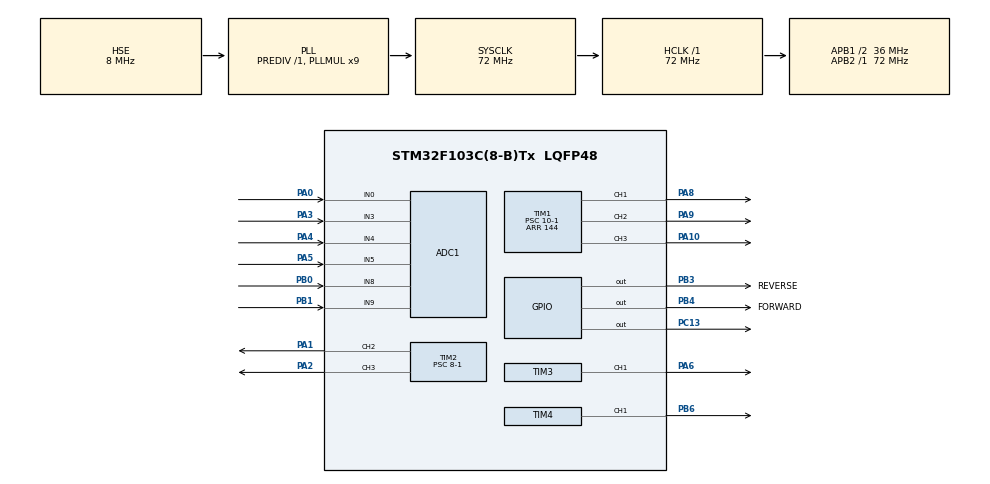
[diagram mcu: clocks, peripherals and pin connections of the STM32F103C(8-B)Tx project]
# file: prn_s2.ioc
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ADC1.Channel-10\#ChannelRegularConversion=ADC_CHANNEL_8
ADC1.Channel-11\#ChannelRegularConversion=ADC_CHANNEL_9
ADC1.Channel-6\#ChannelRegularConversion=ADC_CHANNEL_0
ADC1.Channel-7\#ChannelRegularConversion=ADC_CHANNEL_3
ADC1.Channel-8\#ChannelRegularConversion=ADC_CHANNEL_4
ADC1.Channel-9\#ChannelRegularConversion=ADC_CHANNEL_5
ADC1.NbrOfConversion=6
ADC1.NbrOfConversionFlag=1
ADC1.Rank-10\#ChannelRegularConversion=5
ADC1.Rank-11\#ChannelRegularConversion=6
ADC1.Rank-6\#ChannelRegularConversion=1
ADC1.Rank-7\#ChannelRegularConversion=2
ADC1.Rank-8\#ChannelRegularConversion=3
ADC1.Rank-9\#ChannelRegularConversion=4
ADC1.SamplingTime-10\#ChannelRegularConversion=ADC_SAMPLETIME_239CYCLES_5
ADC1.SamplingTime-11\#ChannelRegularConversion=ADC_SAMPLETIME_239CYCLES_5
ADC1.SamplingTime-6\#ChannelRegularConversion=ADC_SAMPLETIME_239CYCLES_5
ADC1.SamplingTime-7\#ChannelRegularConversion=ADC_SAMPLETIME_239CYCLES_5
ADC1.SamplingTime-8\#ChannelRegularConversion=ADC_SAMPLETIME_239CYCLES_5
ADC1.SamplingTime-9\#ChannelRegularConversion=ADC_SAMPLETIME_239CYCLES_5
ADC1.master=1
Dma.ADC1.0.Direction=DMA_PERIPH_TO_MEMORY
Dma.ADC1.0.Instance=DMA1_Channel1
Dma.ADC1.0.MemDataAlignment=DMA_MDATAALIGN_WORD
Dma.ADC1.0.MemInc=DMA_MINC_ENABLE
Dma.ADC1.0.Mode=DMA_CIRCULAR
Dma.ADC1.0.PeriphDataAlignment=DMA_PDATAALIGN_WORD
Dma.ADC1.0.PeriphInc=DMA_PINC_DISABLE
Dma.ADC1.0.Priority=DMA_PRIORITY_LOW
Dma.Request0=ADC1
Mcu.Family=STM32F1
Mcu.Name=STM32F103C(8-B)Tx
Mcu.Package=LQFP48
NVIC.DMA1_Channel1_IRQn=true\:0\:0\:false\:false\:true\:false\:true
NVIC.PriorityGroup=NVIC_PRIORITYGROUP_4
NVIC.TIM2_IRQn=true\:0\:0\:false\:false\:true\:true\:true
PA0-WKUP.Signal=ADCx_IN0
PA1.Signal=S_TIM2_CH2
PA10.Signal=S_TIM1_CH3
PA13.Mode=Serial_Wire
PA13.Signal=SYS_JTMS-SWDIO
PA14.Mode=Serial_Wire
PA14.Signal=SYS_JTCK-SWCLK
PA2.Signal=S_TIM2_CH3
PA3.Signal=ADCx_IN3
PA4.Signal=ADCx_IN4
PA5.Signal=ADCx_IN5
PA6.Signal=S_TIM3_CH1
PA8.Signal=S_TIM1_CH1
PA9.Signal=S_TIM1_CH2
PB0.Signal=ADCx_IN8
PB1.Signal=ADCx_IN9
PB3.GPIO_Label=REVERSE
PB3.GPIO_PuPd=GPIO_PULLDOWN
PB3.PinState=GPIO_PIN_RESET
PB3.Signal=GPIO_Output
PB4.GPIO_Label=FORWARD
PB4.GPIO_PuPd=GPIO_PULLDOWN
PB4.Signal=GPIO_Output
PB6.Signal=S_TIM4_CH1
PC13-TAMPER-RTC.Signal=GPIO_Output
PD0-OSC_IN.Mode=HSE-External-Oscillator
PD0-OSC_IN.Signal=RCC_OSC_IN
PD1-OSC_OUT.Mode=HSE-External-Oscillator
PD1-OSC_OUT.Signal=RCC_OSC_OUT
ProjectManager.HeapSize=0x200
ProjectManager.StackSize=0x400
ProjectManager.TargetToolchain=STM32CubeIDE
RCC.ADCPresc=RCC_ADCPCLK2_DIV6
RCC.AHBFreq_Value=72000000
RCC.APB1CLKDivider=RCC_HCLK_DIV2
RCC.APB1Freq_Value=36000000
RCC.APB1TimFreq_Value=72000000
RCC.APB2Freq_Value=72000000
RCC.APB2TimFreq_Value=72000000
RCC.HCLKFreq_Value=72000000
RCC.PLLMUL=RCC_PLL_MUL9
RCC.PLLSourceVirtual=RCC_PLLSOURCE_HSE
RCC.SYSCLKFreq_VALUE=72000000
RCC.SYSCLKSource=RCC_SYSCLKSOURCE_PLLCLK
RCC.USBFreq_Value=72000000
SH.ADCx_IN0.0=ADC1_IN0,IN0
SH.ADCx_IN3.0=ADC1_IN3,IN3
SH.ADCx_IN4.0=ADC1_IN4,IN4
SH.ADCx_IN5.0=ADC1_IN5,IN5
SH.ADCx_IN8.0=ADC1_IN8,IN8
SH.ADCx_IN9.0=ADC1_IN9,IN9
SH.S_TIM1_CH1.0=TIM1_CH1,PWM Generation1 CH1
SH.S_TIM1_CH2.0=TIM1_CH2,PWM Generation2 CH2
SH.S_TIM1_CH3.0=TIM1_CH3,PWM Generation3 CH3
SH.S_TIM2_CH2.0=TIM2_CH2,PWM Generation2 CH2
SH.S_TIM2_CH3.0=TIM2_CH3,PWM Generation3 CH3
SH.S_TIM3_CH1.0=TIM3_CH1,PWM Generation1 CH1
SH.S_TIM4_CH1.0=TIM4_CH1,PWM Generation1 CH1
TIM1.Channel-PWM\ Generation1\ CH1=TIM_CHANNEL_1
TIM1.Channel-PWM\ Generation2\ CH2=TIM_CHANNEL_2
TIM1.Channel-PWM\ Generation3\ CH3=TIM_CHANNEL_3
TIM1.OCPolarity_1=TIM_OCPOLARITY_LOW
TIM1.OCPolarity_2=TIM_OCPOLARITY_LOW
TIM1.Period=144
TIM1.Prescaler=10-1
TIM2.AutoReloadPreload=TIM_AUTORELOAD_PRELOAD_DISABLE
TIM2.Channel-PWM\ Generation2\ CH2=TIM_CHANNEL_2
TIM2.Channel-PWM\ Generation3\ CH3=TIM_CHANNEL_3
TIM2.OCPolarity_2=TIM_OCPOLARITY_LOW
TIM2.OCPolarity_3=TIM_OCPOLARITY_LOW
TIM2.Period=600
TIM2.Prescaler=8-1
TIM3.Channel-PWM\ Generation1\ CH1=TIM_CHANNEL_1
TIM3.OCPolarity_1=TIM_OCPOLARITY_LOW
TIM3.Period=288
TIM3.Prescaler=10-1
TIM4.Channel-PWM\ Generation1\ CH1=TIM_CHANNEL_1
TIM4.OCPolarity_1=TIM_OCPOLARITY_LOW
TIM4.Period=2000
TIM4.Prescaler=72-1
VP_TIM1_VS_ClockSourceINT.Mode=Internal
VP_TIM2_VS_ClockSourceINT.Mode=Internal
VP_TIM3_VS_ClockSourceINT.Mode=Internal
VP_TIM4_VS_ClockSourceINT.Mode=Internal
board=custom

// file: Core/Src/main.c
/* USER CODE BEGIN Header */
/**
  ******************************************************************************
  * @file           : main.c
  * @brief          : Main program body
  ******************************************************************************
  * @attention
  *
  * Copyright (c) 2021 STMicroelectronics.
  * All rights reserved.
  *
  * This software is licensed under terms that can be found in the LICENSE file
  * in the root directory of this software component.
  * If no LICENSE file comes with this software, it is provided AS-IS.
  *
  ******************************************************************************
  */
/* USER CODE END Header */
#include "main.h"

/* USER CODE BEGIN Includes */

#include "math.h"

// if math.h didn't works, use the define below
//#define M_PI 3.14159265358979323846264338328

#define F_CPU 72000000		// 72MHz
#define AC_FREQ 50          // 50Hz ac outlet
#define period 600			// Timer 2 period
#define presc 8				// Timer 2 prescale

const int sinDivision = F_CPU/presc/AC_FREQ/period;

uint32_t lookUp[151];
float temp;

// Mode
// Mode 0 for charging
// Mode 1 for inverter
int inverterMode = 0;

// Isolated Buck Converter Properties
int maxIsolatedBuckValue = 144;
int nowIsolatedBuckValue = 0;

// Boost Converter Properties
int maxBoostValue = 288;
int nowBoostValue = 0;

// Input Voltage Properties
int maxInputGateValue = 2000;
int nowInputGateValue = 0;

// Switching Transformer (50KHz)
int maxTrafoSwitchingValue = 144;
int nowTrafoSwitchingValue = 0;

// Analog Reading
uint32_t adcReading[6];

int adcValue0 = 0;
int adcValue1 = 0;
int adcValue2 = 0;
int adcValue3 = 0;
int adcValue4 = 0;
int adcValue5 = 0;

// Voltage Reading
float batteryVoltage;
float inputVoltage;
float ctVoltage;

// Current Reading
float acOutputCurrent;

// Temperature Reading
float temperature1;
float temperature2;

int ledCounter = 0;
/* USER CODE END Includes */

ADC_HandleTypeDef hadc1;
DMA_HandleTypeDef hdma_adc1;

TIM_HandleTypeDef htim1;
TIM_HandleTypeDef htim2;
TIM_HandleTypeDef htim3;
TIM_HandleTypeDef htim4;

void SystemClock_Config(void);
static void MX_GPIO_Init(void);
static void MX_TIM2_Init(void);
static void MX_TIM3_Init(void);
static void MX_DMA_Init(void);
static void MX_ADC1_Init(void);
static void MX_TIM4_Init(void);
static void MX_TIM1_Init(void);

int main(void)
{

  /* MCU Configuration--------------------------------------------------------*/

  /* Reset of all peripherals, Initializes the Flash interface and the Systick. */
  HAL_Init();

  /* Configure the system clock */
  SystemClock_Config();

  /* Initialize all configured peripherals */
  MX_GPIO_Init();
  MX_TIM2_Init();
  MX_TIM3_Init();
  MX_DMA_Init();
  MX_ADC1_Init();
  MX_TIM4_Init();
  MX_TIM1_Init();
  /* USER CODE BEGIN 2 */

  // Create SPWM Array (DO NOT CHANGE)

  for (int i=0; i<(sinDivision/2); i++)
  {
	  temp = sin((i+0.5) * 2 * M_PI / sinDivision) * period;
	  lookUp[i] = (int)(temp+0.5);
  }

  htim2.Instance->CCR2 = 0;
  htim2.Instance->CCR3 = 0;
  HAL_TIM_Base_Start_IT(&htim2);
  HAL_TIM_PWM_Start(&htim2,TIM_CHANNEL_2);
  HAL_TIM_PWM_Start(&htim2,TIM_CHANNEL_3);

  HAL_TIM_PWM_Start(&htim1, TIM_CHANNEL_1);
  HAL_TIM_PWM_Start(&htim1, TIM_CHANNEL_2);
  HAL_TIM_PWM_Start(&htim1, TIM_CHANNEL_3);

  HAL_TIM_PWM_Start(&htim3, TIM_CHANNEL_1);

  HAL_TIM_PWM_Start(&htim4, TIM_CHANNEL_1);

  // Set all PWM to Zero
  TIM1->CCR1 = nowTrafoSwitchingValue;
  TIM1->CCR2 = nowIsolatedBuckValue;
  TIM1->CCR3 = maxTrafoSwitchingValue;

  TIM3->CCR1 = nowBoostValue;

  TIM4->CCR1 = nowInputGateValue;

  /* USER CODE END 2 */

  /* Infinite loop */
  /* USER CODE BEGIN WHILE */
  while (1)
  {
	  // increase led counter
	  ledCounter += 1;

	  // Read Sensor
	  HAL_ADC_Start_DMA(&hadc1, adcReading, 6);

	  adcValue0 = adcReading[0];
	  adcValue1 = adcReading[1];
	  adcValue2 = adcReading[2];
	  adcValue3 = adcReading[3];
	  adcValue4 = adcReading[4];
	  adcValue5 = adcReading[5];

	  batteryVoltage = ((adcValue0 / 4096.0) * 3.3) * 21 ;
	  inputVoltage = ((adcValue1 / 4096.0) * 3.3) * 21 ;
	  ctVoltage = ((adcValue3 / 4096.0) * 3.3) * 21 ;

	  temperature1 = ((adcValue4 / 4096) * 3.3) * 100;
	  temperature2 = ((adcValue5 / 4096) * 3.3) * 100;

	  /*
	  // Take Action based on Battery Voltage
	  // inverter mode when voltage > 50V
	  if (batteryVoltage > 50)
	  {
		  inverterMode = 1;
	  }

	  // charging mode when voltage < 39V
	  if (batteryVoltage < 39)
	  {
		  inverterMode = 0;
	  }
	  */

	  // Decide Mode to be used
	  inverterMode = 1;

	  // If Charging Mode is used
	  if (inverterMode == 0)
	  {
		  // Turn off inverter mode mosfet
		  HAL_GPIO_WritePin(GPIOB, FORWARD_Pin, GPIO_PIN_RESET);

		  // Stop Input Voltage
		  nowInputGateValue = 0;
		  TIM4->CCR1 = nowInputGateValue;

		  // Stop isolated buck converter
		  nowIsolatedBuckValue = 0;
		  TIM1->CCR2 = nowIsolatedBuckValue;

		  // Run Boost Converter
		  nowBoostValue = maxBoostValue * 30.0 / 100.0;
		  TIM3->CCR1 = nowBoostValue;

		  // Activate charging mode mosfet
		  // if ctVoltage become zero
		  // to prevent short circuit
		  if (ctVoltage == 0)
		  {
			  HAL_GPIO_WritePin(GPIOB, REVERSE_Pin, GPIO_PIN_SET);
			  HAL_Delay(1);
		  }

		  if (ledCounter >= 5000)
		  {
			  HAL_GPIO_TogglePin(GPIOC, GPIO_PIN_13);
			  ledCounter = 0;
		  }
	  }

	  // If Inverter Mode is used
	  if (inverterMode == 1)
	  {
		  // Turn off charging mode mosfet
		  HAL_GPIO_WritePin(GPIOB, REVERSE_Pin, GPIO_PIN_RESET);

		  // Stop Boost Converter
		  nowBoostValue = 0;
		  TIM3->CCR1 = nowBoostValue;

		  // Run Isolated Buck Converter at 50% duty cycle
		  nowIsolatedBuckValue = maxIsolatedBuckValue / 2;
		  TIM1->CCR2 = nowIsolatedBuckValue;

		  // Run Switching for Trafo at 50% duty cycle
		  nowTrafoSwitchingValue = maxTrafoSwitchingValue / 2;
		  TIM1->CCR1 = nowTrafoSwitchingValue;
		  TIM1->CCR3 = nowTrafoSwitchingValue;

		  // Activate Forward Mosfet
		  HAL_GPIO_WritePin(GPIOB, FORWARD_Pin, GPIO_PIN_SET);
		  //HAL_GPIO_WritePin(GPIOB, FORWARD_Pin, GPIO_PIN_RESET);

		  // Conditioning input voltage
		  // set to x Volt
		  if(batteryVoltage < 10)
		  {
			  nowInputGateValue = nowInputGateValue+1;
		  }
		  if(batteryVoltage > 10)
		  {
			  nowInputGateValue = nowInputGateValue-1;
		  }
		  if(batteryVoltage == 10)
		  {
			  nowInputGateValue = nowInputGateValue;
		  }
		  //TIM4->CCR1 = nowInputGateValue;
		  TIM4->CCR1 = maxInputGateValue/2;

		  if (ledCounter >= 20000)
		  {
			  HAL_GPIO_TogglePin(GPIOC, GPIO_PIN_13);
			  ledCounter = 0;
		  }
	  }
    /* USER CODE END WHILE */

  }
}

void SystemClock_Config(void)
{
  RCC_OscInitTypeDef RCC_OscInitStruct = {0};
  RCC_ClkInitTypeDef RCC_ClkInitStruct = {0};
  RCC_PeriphCLKInitTypeDef PeriphClkInit = {0};

  /** Initializes the RCC Oscillators according to the specified parameters
  * in the RCC_OscInitTypeDef structure.
  */
  RCC_OscInitStruct.OscillatorType = RCC_OSCILLATORTYPE_HSE;
  RCC_OscInitStruct.HSEState = RCC_HSE_ON;
  RCC_OscInitStruct.HSEPredivValue = RCC_HSE_PREDIV_DIV1;
  RCC_OscInitStruct.HSIState = RCC_HSI_ON;
  RCC_OscInitStruct.PLL.PLLState = RCC_PLL_ON;
  RCC_OscInitStruct.PLL.PLLSource = RCC_PLLSOURCE_HSE;
  RCC_OscInitStruct.PLL.PLLMUL = RCC_PLL_MUL9;
  if (HAL_RCC_OscConfig(&RCC_OscInitStruct) != HAL_OK)
  {
    Error_Handler();
  }
  /** Initializes the CPU, AHB and APB buses clocks
  */
  RCC_ClkInitStruct.ClockType = RCC_CLOCKTYPE_HCLK|RCC_CLOCKTYPE_SYSCLK
                              |RCC_CLOCKTYPE_PCLK1|RCC_CLOCKTYPE_PCLK2;
  RCC_ClkInitStruct.SYSCLKSource = RCC_SYSCLKSOURCE_PLLCLK;
  RCC_ClkInitStruct.AHBCLKDivider = RCC_SYSCLK_DIV1;
  RCC_ClkInitStruct.APB1CLKDivider = RCC_HCLK_DIV2;
  RCC_ClkInitStruct.APB2CLKDivider = RCC_HCLK_DIV1;

  if (HAL_RCC_ClockConfig(&RCC_ClkInitStruct, FLASH_LATENCY_2) != HAL_OK)
  {
    Error_Handler();
  }
  PeriphClkInit.PeriphClockSelection = RCC_PERIPHCLK_ADC;
  PeriphClkInit.AdcClockSelection = RCC_ADCPCLK2_DIV6;
  if (HAL_RCCEx_PeriphCLKConfig(&PeriphClkInit) != HAL_OK)
  {
    Error_Handler();
  }
}

static void MX_ADC1_Init(void)
{

  ADC_ChannelConfTypeDef sConfig = {0};

  /** Common config
  */
  hadc1.Instance = ADC1;
  hadc1.Init.ScanConvMode = ADC_SCAN_ENABLE;
  hadc1.Init.ContinuousConvMode = DISABLE;
  hadc1.Init.DiscontinuousConvMode = DISABLE;
  hadc1.Init.ExternalTrigConv = ADC_SOFTWARE_START;
  hadc1.Init.DataAlign = ADC_DATAALIGN_RIGHT;
  hadc1.Init.NbrOfConversion = 6;
  if (HAL_ADC_Init(&hadc1) != HAL_OK)
  {
    Error_Handler();
  }
  /** Configure Regular Channel
  */
  sConfig.Channel = ADC_CHANNEL_0;
  sConfig.Rank = ADC_REGULAR_RANK_1;
  sConfig.SamplingTime = ADC_SAMPLETIME_239CYCLES_5;
  if (HAL_ADC_ConfigChannel(&hadc1, &sConfig) != HAL_OK)
  {
    Error_Handler();
  }
  /** Configure Regular Channel
  */
  sConfig.Channel = ADC_CHANNEL_3;
  sConfig.Rank = ADC_REGULAR_RANK_2;
  if (HAL_ADC_ConfigChannel(&hadc1, &sConfig) != HAL_OK)
  {
    Error_Handler();
  }
  /** Configure Regular Channel
  */
  sConfig.Channel = ADC_CHANNEL_4;
  sConfig.Rank = ADC_REGULAR_RANK_3;
  if (HAL_ADC_ConfigChannel(&hadc1, &sConfig) != HAL_OK)
  {
    Error_Handler();
  }
  /** Configure Regular Channel
  */
  sConfig.Channel = ADC_CHANNEL_5;
  sConfig.Rank = ADC_REGULAR_RANK_4;
  if (HAL_ADC_ConfigChannel(&hadc1, &sConfig) != HAL_OK)
  {
    Error_Handler();
  }
  /** Configure Regular Channel
  */
  sConfig.Channel = ADC_CHANNEL_8;
  sConfig.Rank = ADC_REGULAR_RANK_5;
  if (HAL_ADC_ConfigChannel(&hadc1, &sConfig) != HAL_OK)
  {
    Error_Handler();
  }
  /** Configure Regular Channel
  */
  sConfig.Channel = ADC_CHANNEL_9;
  sConfig.Rank = ADC_REGULAR_RANK_6;
  if (HAL_ADC_ConfigChannel(&hadc1, &sConfig) != HAL_OK)
  {
    Error_Handler();
  }

}

static void MX_TIM1_Init(void)
{

  TIM_ClockConfigTypeDef sClockSourceConfig = {0};
  TIM_MasterConfigTypeDef sMasterConfig = {0};
  TIM_OC_InitTypeDef sConfigOC = {0};
  TIM_BreakDeadTimeConfigTypeDef sBreakDeadTimeConfig = {0};

  htim1.Instance = TIM1;
  htim1.Init.Prescaler = 10-1;
  htim1.Init.CounterMode = TIM_COUNTERMODE_UP;
  htim1.Init.Period = 144;
  htim1.Init.ClockDivision = TIM_CLOCKDIVISION_DIV1;
  htim1.Init.RepetitionCounter = 0;
  htim1.Init.AutoReloadPreload = TIM_AUTORELOAD_PRELOAD_DISABLE;
  if (HAL_TIM_Base_Init(&htim1) != HAL_OK)
  {
    Error_Handler();
  }
  sClockSourceConfig.ClockSource = TIM_CLOCKSOURCE_INTERNAL;
  if (HAL_TIM_ConfigClockSource(&htim1, &sClockSourceConfig) != HAL_OK)
  {
    Error_Handler();
  }
  if (HAL_TIM_PWM_Init(&htim1) != HAL_OK)
  {
    Error_Handler();
  }
  sMasterConfig.MasterOutputTrigger = TIM_TRGO_RESET;
  sMasterConfig.MasterSlaveMode = TIM_MASTERSLAVEMODE_DISABLE;
  if (HAL_TIMEx_MasterConfigSynchronization(&htim1, &sMasterConfig) != HAL_OK)
  {
    Error_Handler();
  }
  sConfigOC.OCMode = TIM_OCMODE_PWM1;
  sConfigOC.Pulse = 0;
  sConfigOC.OCPolarity = TIM_OCPOLARITY_LOW;
  sConfigOC.OCNPolarity = TIM_OCNPOLARITY_HIGH;
  sConfigOC.OCFastMode = TIM_OCFAST_DISABLE;
  sConfigOC.OCIdleState = TIM_OCIDLESTATE_RESET;
  sConfigOC.OCNIdleState = TIM_OCNIDLESTATE_RESET;
  if (HAL_TIM_PWM_ConfigChannel(&htim1, &sConfigOC, TIM_CHANNEL_1) != HAL_OK)
  {
    Error_Handler();
  }
  if (HAL_TIM_PWM_ConfigChannel(&htim1, &sConfigOC, TIM_CHANNEL_2) != HAL_OK)
  {
    Error_Handler();
  }
  sConfigOC.OCPolarity = TIM_OCPOLARITY_HIGH;
  if (HAL_TIM_PWM_ConfigChannel(&htim1, &sConfigOC, TIM_CHANNEL_3) != HAL_OK)
  {
    Error_Handler();
  }
  sBreakDeadTimeConfig.OffStateRunMode = TIM_OSSR_DISABLE;
  sBreakDeadTimeConfig.OffStateIDLEMode = TIM_OSSI_DISABLE;
  sBreakDeadTimeConfig.LockLevel = TIM_LOCKLEVEL_OFF;
  sBreakDeadTimeConfig.DeadTime = 0;
  sBreakDeadTimeConfig.BreakState = TIM_BREAK_DISABLE;
  sBreakDeadTimeConfig.BreakPolarity = TIM_BREAKPOLARITY_HIGH;
  sBreakDeadTimeConfig.AutomaticOutput = TIM_AUTOMATICOUTPUT_DISABLE;
  if (HAL_TIMEx_ConfigBreakDeadTime(&htim1, &sBreakDeadTimeConfig) != HAL_OK)
  {
    Error_Handler();
  }
  HAL_TIM_MspPostInit(&htim1);

}

static void MX_TIM2_Init(void)
{

  TIM_ClockConfigTypeDef sClockSourceConfig = {0};
  TIM_MasterConfigTypeDef sMasterConfig = {0};
  TIM_OC_InitTypeDef sConfigOC = {0};

  htim2.Instance = TIM2;
  htim2.Init.Prescaler = 8-1;
  htim2.Init.CounterMode = TIM_COUNTERMODE_UP;
  htim2.Init.Period = 600;
  htim2.Init.ClockDivision = TIM_CLOCKDIVISION_DIV1;
  htim2.Init.AutoReloadPreload = TIM_AUTORELOAD_PRELOAD_DISABLE;
  if (HAL_TIM_Base_Init(&htim2) != HAL_OK)
  {
    Error_Handler();
  }
  sClockSourceConfig.ClockSource = TIM_CLOCKSOURCE_INTERNAL;
  if (HAL_TIM_ConfigClockSource(&htim2, &sClockSourceConfig) != HAL_OK)
  {
    Error_Handler();
  }
  if (HAL_TIM_PWM_Init(&htim2) != HAL_OK)
  {
    Error_Handler();
  }
  sMasterConfig.MasterOutputTrigger = TIM_TRGO_RESET;
  sMasterConfig.MasterSlaveMode = TIM_MASTERSLAVEMODE_DISABLE;
  if (HAL_TIMEx_MasterConfigSynchronization(&htim2, &sMasterConfig) != HAL_OK)
  {
    Error_Handler();
  }
  sConfigOC.OCMode = TIM_OCMODE_PWM1;
  sConfigOC.Pulse = 0;
  sConfigOC.OCPolarity = TIM_OCPOLARITY_LOW;
  sConfigOC.OCFastMode = TIM_OCFAST_DISABLE;
  if (HAL_TIM_PWM_ConfigChannel(&htim2, &sConfigOC, TIM_CHANNEL_2) != HAL_OK)
  {
    Error_Handler();
  }
  if (HAL_TIM_PWM_ConfigChannel(&htim2, &sConfigOC, TIM_CHANNEL_3) != HAL_OK)
  {
    Error_Handler();
  }
  HAL_TIM_MspPostInit(&htim2);

}

static void MX_TIM3_Init(void)
{

  TIM_ClockConfigTypeDef sClockSourceConfig = {0};
  TIM_MasterConfigTypeDef sMasterConfig = {0};
  TIM_OC_InitTypeDef sConfigOC = {0};

  htim3.Instance = TIM3;
  htim3.Init.Prescaler = 10-1;
  htim3.Init.CounterMode = TIM_COUNTERMODE_UP;
  htim3.Init.Period = 288;
  htim3.Init.ClockDivision = TIM_CLOCKDIVISION_DIV1;
  htim3.Init.AutoReloadPreload = TIM_AUTORELOAD_PRELOAD_DISABLE;
  if (HAL_TIM_Base_Init(&htim3) != HAL_OK)
  {
    Error_Handler();
  }
  sClockSourceConfig.ClockSource = TIM_CLOCKSOURCE_INTERNAL;
  if (HAL_TIM_ConfigClockSource(&htim3, &sClockSourceConfig) != HAL_OK)
  {
    Error_Handler();
  }
  if (HAL_TIM_PWM_Init(&htim3) != HAL_OK)
  {
    Error_Handler();
  }
  sMasterConfig.MasterOutputTrigger = TIM_TRGO_RESET;
  sMasterConfig.MasterSlaveMode = TIM_MASTERSLAVEMODE_DISABLE;
  if (HAL_TIMEx_MasterConfigSynchronization(&htim3, &sMasterConfig) != HAL_OK)
  {
    Error_Handler();
  }
  sConfigOC.OCMode = TIM_OCMODE_PWM1;
  sConfigOC.Pulse = 0;
  sConfigOC.OCPolarity = TIM_OCPOLARITY_LOW;
  sConfigOC.OCFastMode = TIM_OCFAST_DISABLE;
  if (HAL_TIM_PWM_ConfigChannel(&htim3, &sConfigOC, TIM_CHANNEL_1) != HAL_OK)
  {
    Error_Handler();
  }
  HAL_TIM_MspPostInit(&htim3);

}

static void MX_TIM4_Init(void)
{

  TIM_ClockConfigTypeDef sClockSourceConfig = {0};
  TIM_MasterConfigTypeDef sMasterConfig = {0};
  TIM_OC_InitTypeDef sConfigOC = {0};

  htim4.Instance = TIM4;
  htim4.Init.Prescaler = 72-1;
  htim4.Init.CounterMode = TIM_COUNTERMODE_UP;
  htim4.Init.Period = 2000;
  htim4.Init.ClockDivision = TIM_CLOCKDIVISION_DIV1;
  htim4.Init.AutoReloadPreload = TIM_AUTORELOAD_PRELOAD_DISABLE;
  if (HAL_TIM_Base_Init(&htim4) != HAL_OK)
  {
    Error_Handler();
  }
  sClockSourceConfig.ClockSource = TIM_CLOCKSOURCE_INTERNAL;
  if (HAL_TIM_ConfigClockSource(&htim4, &sClockSourceConfig) != HAL_OK)
  {
    Error_Handler();
  }
  if (HAL_TIM_PWM_Init(&htim4) != HAL_OK)
  {
    Error_Handler();
  }
  sMasterConfig.MasterOutputTrigger = TIM_TRGO_RESET;
  sMasterConfig.MasterSlaveMode = TIM_MASTERSLAVEMODE_DISABLE;
  if (HAL_TIMEx_MasterConfigSynchronization(&htim4, &sMasterConfig) != HAL_OK)
  {
    Error_Handler();
  }
  sConfigOC.OCMode = TIM_OCMODE_PWM1;
  sConfigOC.Pulse = 0;
  sConfigOC.OCPolarity = TIM_OCPOLARITY_LOW;
  sConfigOC.OCFastMode = TIM_OCFAST_DISABLE;
  if (HAL_TIM_PWM_ConfigChannel(&htim4, &sConfigOC, TIM_CHANNEL_1) != HAL_OK)
  {
    Error_Handler();
  }
  HAL_TIM_MspPostInit(&htim4);

}

static void MX_DMA_Init(void)
{

  /* DMA controller clock enable */
  __HAL_RCC_DMA1_CLK_ENABLE();

  /* DMA interrupt init */
  /* DMA1_Channel1_IRQn interrupt configuration */
  HAL_NVIC_SetPriority(DMA1_Channel1_IRQn, 0, 0);
  HAL_NVIC_EnableIRQ(DMA1_Channel1_IRQn);

}

static void MX_GPIO_Init(void)
{
  GPIO_InitTypeDef GPIO_InitStruct = {0};

  /* GPIO Ports Clock Enable */
  __HAL_RCC_GPIOC_CLK_ENABLE();
  __HAL_RCC_GPIOD_CLK_ENABLE();
  __HAL_RCC_GPIOA_CLK_ENABLE();
  __HAL_RCC_GPIOB_CLK_ENABLE();

  /*Configure GPIO pin Output Level */
  HAL_GPIO_WritePin(GPIOC, GPIO_PIN_13, GPIO_PIN_RESET);

  /*Configure GPIO pin Output Level */
  HAL_GPIO_WritePin(GPIOB, REVERSE_Pin|FORWARD_Pin, GPIO_PIN_RESET);

  /*Configure GPIO pin : PC13 */
  GPIO_InitStruct.Pin = GPIO_PIN_13;
  GPIO_InitStruct.Mode = GPIO_MODE_OUTPUT_PP;
  GPIO_InitStruct.Pull = GPIO_NOPULL;
  GPIO_InitStruct.Speed = GPIO_SPEED_FREQ_LOW;
  HAL_GPIO_Init(GPIOC, &GPIO_InitStruct);

  /*Configure GPIO pins : REVERSE_Pin FORWARD_Pin */
  GPIO_InitStruct.Pin = REVERSE_Pin|FORWARD_Pin;
  GPIO_InitStruct.Mode = GPIO_MODE_OUTPUT_PP;
  GPIO_InitStruct.Pull = GPIO_PULLDOWN;
  GPIO_InitStruct.Speed = GPIO_SPEED_FREQ_LOW;
  HAL_GPIO_Init(GPIOB, &GPIO_InitStruct);

}

/* USER CODE BEGIN 4 */
void HAL_TIM_PeriodElapsedCallback(TIM_HandleTypeDef *htim)
{
	static int num=0;
	static int delay1=0;
	static int toggling=0;
	static int delay2=0;

	if(delay1 == 1)
	{
		delay2++;
		if(delay2>=5)
		{
			delay2=0;
			delay1=0;
		}
	}
	else if(num>= sinDivision/2)
	{
		num = 0;
		delay1++;
		htim2.Instance->CCR2 = 0;
		htim2.Instance->CCR3 = 0;
		if(toggling == 0)
		{
			toggling++;
		}
		else
		{
			toggling = 0;
		}
	}
	if(toggling == 0 && delay1 !=1)
	{
		htim2.Instance->CCR2 = lookUp[num];
		htim2.Instance->CCR3 = 0;
	}
	else if(toggling == 1 && delay1 !=1)
	{
		htim2.Instance->CCR2 = 0;
		htim2.Instance->CCR3 = lookUp[num];
	}

	num++;
}

/* USER CODE END 4 */

void Error_Handler(void)
{
  __disable_irq();
  while (1)
  {
  }
}
